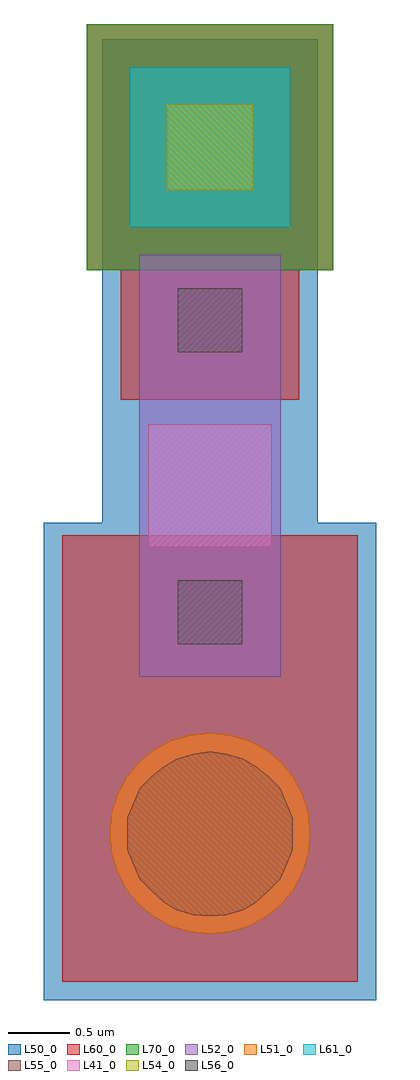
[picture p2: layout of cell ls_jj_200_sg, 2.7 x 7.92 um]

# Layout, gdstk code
import gdstk
lib = gdstk.Library(unit=1e-6, precision=1e-09)
def R(c, l, rs):  # rectangles x0, y0, x1, y1
    for r in rs: c.add(gdstk.rectangle(r[:2], r[2:], *l))
def P(c, l, *ps):  # polygons
    for p in ps: c.add(gdstk.Polygon(p, *l))
L41_0 = (41, 0)
L50_0 = (50, 0)
L51_0 = (51, 0)
L52_0 = (52, 0)
L54_0 = (54, 0)
L55_0 = (55, 0)
L56_0 = (56, 0)
L60_0 = (60, 0)
L61_0 = (61, 0)
L70_0 = (70, 0)

ls_conn_m5m6m7 = lib.new_cell('ls_conn_M5M6M7')
R(ls_conn_m5m6m7, L50_0, [(-0.5,-0.5,1.2,1.2)])
R(ls_conn_m5m6m7, L54_0, [(0,0,0.7,0.7)])
R(ls_conn_m5m6m7, L60_0, [(-0.65,-0.65,1.35,1.35)])
R(ls_conn_m5m6m7, L61_0, [(-0.3,-0.3,1,1)])
R(ls_conn_m5m6m7, L70_0, [(-0.65,-0.65,1.35,1.35)])

ls_jj_200_sg = lib.new_cell('ls_jj_200_sg')
R(ls_jj_200_sg, L41_0, [(-0.5,2.325,0.5,3.325)])
R(ls_jj_200_sg, L50_0, [(-1.35,-1.35,1.35,2.525), (-0.875,2.525,0.875,6.45)])
P(ls_jj_200_sg, L51_0, [(0,-0.815),(0.16,-0.8),(0.315,-0.755),(0.455,-0.675),(0.58,-0.575),(0.68,-0.45),(0.755,-0.31),(0.8,-0.155),(0.815,0),(0.8,0.16),(0.755,0.315),(0.68,0.455),(0.58,0.58),(0.455,0.68),(0.315,0.76),(0.16,0.805),(0,0.82),(-0.16,0.805),(-0.315,0.76),(-0.455,0.68),(-0.58,0.58),(-0.68,0.455),(-0.755,0.315),(-0.8,0.16),(-0.815,0),(-0.8,-0.155),(-0.755,-0.31),(-0.68,-0.45),(-0.58,-0.575),(-0.455,-0.675),(-0.315,-0.755),(-0.16,-0.8)])
R(ls_jj_200_sg, L52_0, [(-0.575,1.275,0.575,4.7)])
R(ls_jj_200_sg, L54_0, [(-0.35,5.225,0.35,5.925)])
P(ls_jj_200_sg, L55_0, [(0,-0.67),(0.13,-0.66),(0.27,-0.62),(0.37,-0.56),(0.47,-0.47),(0.57,-0.37),(0.62,-0.26),(0.67,-0.13),(0.67,0.13),(0.57,0.37),(0.47,0.47),(0.37,0.55),(0.27,0.61),(0.13,0.65),(0,0.67),(-0.13,0.65),(-0.27,0.61),(-0.37,0.55),(-0.47,0.47),(-0.57,0.37),(-0.67,0.13),(-0.67,-0.13),(-0.62,-0.26),(-0.57,-0.37),(-0.47,-0.47),(-0.37,-0.56),(-0.27,-0.62),(-0.13,-0.66)])
R(ls_jj_200_sg, L56_0, [(-0.26,1.54,0.26,2.06), (-0.26,3.91,0.26,4.43)])
R(ls_jj_200_sg, L60_0, [(-1.2,-1.2,1.2,2.425), (-0.725,3.525,0.725,6.3)])
ls_jj_200_sg.add(gdstk.Reference(ls_conn_m5m6m7, (-0.35,5.225)))

lib.write_gds('ls_jj_200_sg.gds')
